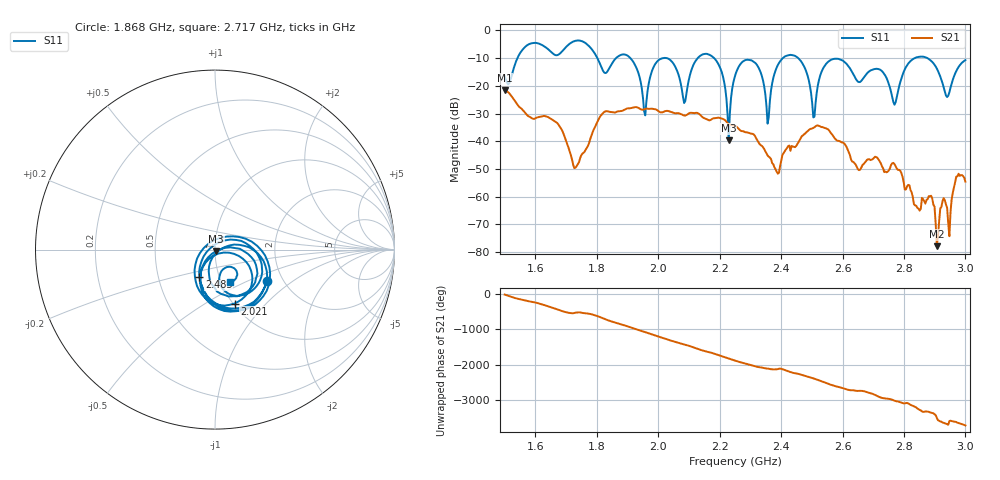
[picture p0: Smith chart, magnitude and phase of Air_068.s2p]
# HZ S RI R 50
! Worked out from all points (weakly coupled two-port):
!   404 points, 1.5 GHz to 3 GHz, reference 50 ohm
!   highest |S21| = -21.65 dB at 1.5 GHz (marker M1); lowest = -77.9 dB at 2.907 GHz (marker M2)
!   lowest |S11| = -39.7 dB at 2.23 GHz (marker M3), VSWR 1.02, Z = 50.6 - j0.853 ohm
!   |S11| at or under -10 dB: 2.182 GHz to 2.405 GHz (223.4 MHz wide, 9.74 % of centre); 2.456 GHz to 2.835 GHz (379.3 MHz wide, 14.3 % of centre); 2.876 GHz to end of sweep (the widest 3 of 7)
!   S12 and S22 are empty: the file has one direction only
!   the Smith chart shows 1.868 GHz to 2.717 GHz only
!   S11 on the Smith chart (normalised r, x): 1.868 GHz: 1.66, -0.64; 2.021 GHz: 1.02, -0.68; 2.483 GHz: 0.80, -0.26; 2.717 GHz: 1.10, -0.42
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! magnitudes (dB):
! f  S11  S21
! 1.5 GHz  -16.4  -21.6
! 1.578 GHz  -5.0  -31.0
! 1.753 GHz  -3.9  -44.5
! 1.868 GHz  -9.5  -29.2
! 1.958 GHz  -30.7  -28.3
! 2.002 GHz  -10.6  -29.3
! 2.021 GHz  -9.9  -29.2
! 2.084 GHz  -26.2  -30.7
! 2.177 GHz  -9.5  -31.8
! 2.23 GHz  -39.7  -33.8
! 2.252 GHz  -15.8  -34.6
! 2.315 GHz  -11.7  -38.1
! 2.356 GHz  -33.6  -45.2
! 2.386 GHz  -13.3  -51.1
! 2.483 GHz  -15.0  -36.7
! 2.501 GHz  -26.2  -35.4
! 2.561 GHz  -10.7  -36.9
! 2.717 GHz  -14.0  -46.6
! 2.751 GHz  -19.3  -50.6
! 2.907 GHz  -13.7  -77.9
! 2.94 GHz  -24.1  -64.0
! 3 GHz  -10.7  -54.6
